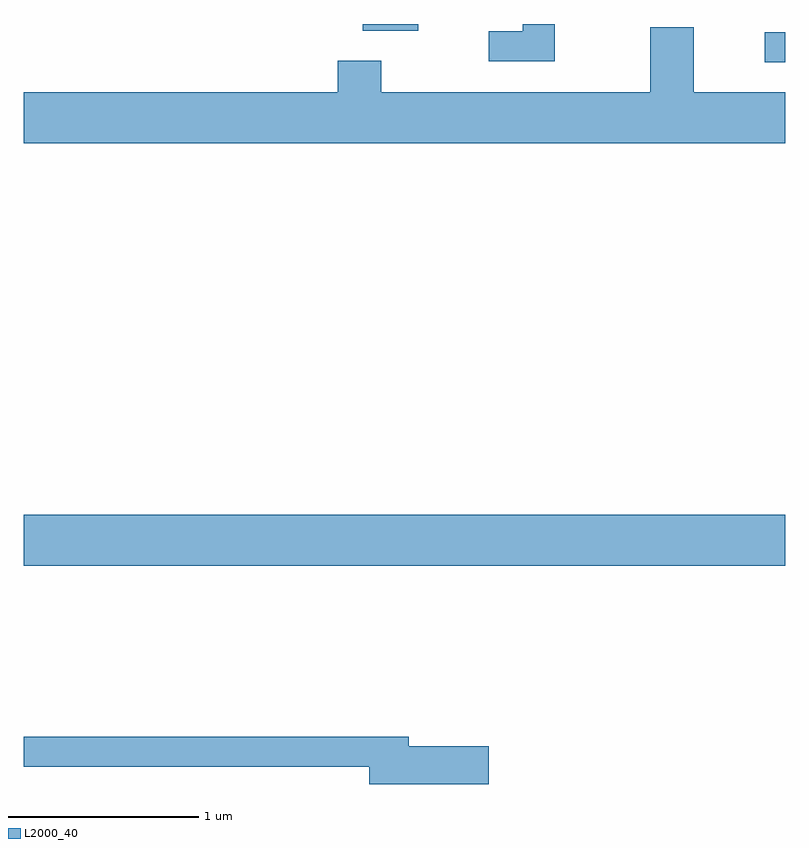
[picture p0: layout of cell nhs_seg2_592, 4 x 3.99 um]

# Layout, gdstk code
import gdstk
lib = gdstk.Library(unit=1e-6, precision=1e-09)
def R(c, l, rs):  # rectangles x0, y0, x1, y1
    for r in rs: c.add(gdstk.rectangle(r[:2], r[2:], *l))
def P(c, l, *ps):  # polygons
    for p in ps: c.add(gdstk.Polygon(p, *l))
L2000_40 = (2000, 40)

nhs_seg2_592 = lib.new_cell('nhs_seg2_592')
R(nhs_seg2_592, L2000_40, [(201.611,1074.956,205.611,1075.224), (205.503,1077.601,205.611,1077.759), (203.391,1077.766,203.684,1077.802)])
P(nhs_seg2_592, L2000_40, [(204.399,1077.802),(204.231,1077.802),(204.231,1077.764),(204.053,1077.764),(204.053,1077.606),(204.399,1077.606)],
  [(205.611,1077.444),(205.129,1077.444),(205.129,1077.784),(204.901,1077.784),(204.901,1077.444),(203.489,1077.444),(203.489,1077.609),(203.261,1077.609),(203.261,1077.444),(201.611,1077.444),(201.611,1077.176),(205.611,1077.176)],
  [(204.054,1074.009),(203.634,1074.009),(203.634,1074.059),(201.611,1074.059),(201.611,1073.901),(203.426,1073.901),(203.426,1073.811),(204.054,1073.811)])

lib.write_gds('nhs_seg2_592.gds')
